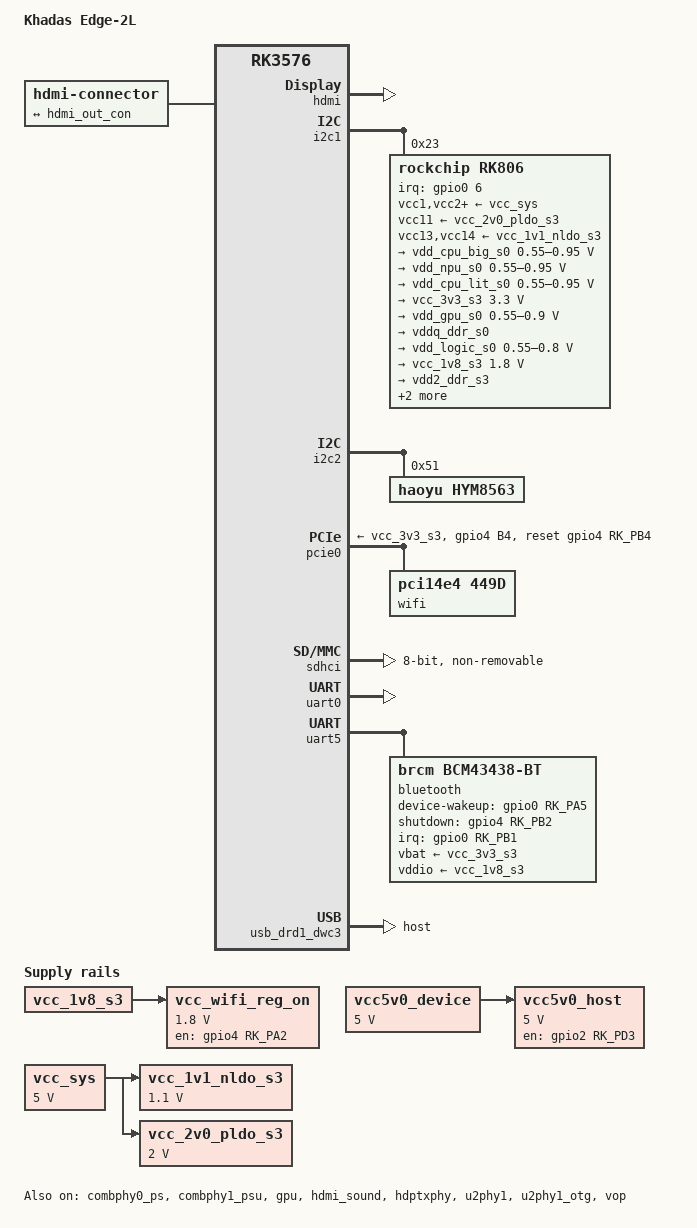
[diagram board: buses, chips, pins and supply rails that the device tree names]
// SPDX-License-Identifier: (GPL-2.0+ OR MIT)

/dts-v1/;

#include <dt-bindings/gpio/gpio.h>
#include <dt-bindings/pinctrl/rockchip.h>
#include <dt-bindings/soc/rockchip,vop2.h>
#include "rk3576.dtsi"

/ {
	model = "Khadas Edge-2L";
	compatible = "khadas,edge-2l", "rockchip,rk3576";

	aliases {
		mmc0 = &sdhci;
	};

	chosen {
		stdout-path = "serial0:1500000n8";
	};

	hdmi-con {
		compatible = "hdmi-connector";
		type = "a";

		port {
			hdmi_con_in: endpoint {
				remote-endpoint = <&hdmi_out_con>;
			};
		};
	};

	vcc5v0_device: regulator-vcc5v0-device {
		compatible = "regulator-fixed";
		regulator-name = "vcc5v0_device";
		regulator-always-on;
		regulator-boot-on;
		regulator-min-microvolt = <5000000>;
		regulator-max-microvolt = <5000000>;
	};

	vcc5v0_host: regulator-vcc5v0-host {
		compatible = "regulator-fixed";
		enable-active-high;
		gpio = <&gpio2 RK_PD3 GPIO_ACTIVE_HIGH>;
		regulator-name = "vcc5v0_host";
		regulator-boot-on;
		regulator-always-on;
		regulator-min-microvolt = <5000000>;
		regulator-max-microvolt = <5000000>;
		pinctrl-names = "default";
		pinctrl-0 = <&usb_host_pwren>;
		vin-supply = <&vcc5v0_device>;
	};

	vcc_sys: regulator-vcc5v0-sys {
		compatible = "regulator-fixed";
		regulator-name = "vcc_sys";
		regulator-always-on;
		regulator-boot-on;
		regulator-min-microvolt = <5000000>;
		regulator-max-microvolt = <5000000>;
	};

	vcc_1v1_nldo_s3: regulator-vcc-1v1-nldo-s3 {
		compatible = "regulator-fixed";
		regulator-name = "vcc_1v1_nldo_s3";
		regulator-boot-on;
		regulator-always-on;
		regulator-min-microvolt = <1100000>;
		regulator-max-microvolt = <1100000>;
		vin-supply = <&vcc_sys>;
	};

	vcc_2v0_pldo_s3: regulator-vcc-2v0-pldo-s3 {
		compatible = "regulator-fixed";
		regulator-name = "vcc_2v0_pldo_s3";
		regulator-boot-on;
		regulator-always-on;
		regulator-min-microvolt = <2000000>;
		regulator-max-microvolt = <2000000>;
		vin-supply = <&vcc_sys>;
	};

	vcc_wifi_reg_on: regulator-wifi-reg-on {
		compatible = "regulator-fixed";
		enable-active-high;
		gpios = <&gpio4 RK_PA2 GPIO_ACTIVE_HIGH>;
		pinctrl-0 = <&wifi_reg_on>;
		pinctrl-names = "default";
		regulator-name = "wifi_reg_on";
		regulator-always-on;
		regulator-boot-on;
		regulator-min-microvolt = <1800000>;
		regulator-max-microvolt = <1800000>;
		vin-supply = <&vcc_1v8_s3>;
	};
};

&combphy0_ps {
	status = "okay";
};

&combphy1_psu {
	status = "okay";
};

&cpu_l0 {
	cpu-supply = <&vdd_cpu_lit_s0>;
};

&cpu_b0 {
	cpu-supply = <&vdd_cpu_big_s0>;
};

&gpu {
	mali-supply = <&vdd_gpu_s0>;
	status = "okay";
};

&hdmi {
	status = "okay";
};

&hdmi_in {
	hdmi_in_vp0: endpoint {
		remote-endpoint = <&vp0_out_hdmi>;
	};
};

&hdmi_out {
	hdmi_out_con: endpoint {
		remote-endpoint = <&hdmi_con_in>;
	};
};

&hdmi_sound {
	status = "okay";
};

&hdptxphy {
	status = "okay";
};

&i2c1 {
	status = "okay";

	rk806: pmic@23 {
		compatible = "rockchip,rk806";
		reg = <0x23>;
		interrupt-parent = <&gpio0>;
		interrupts = <6 IRQ_TYPE_LEVEL_LOW>;
		gpio-controller;
		#gpio-cells = <2>;
		pinctrl-names = "default";
		pinctrl-0 = <&pmic_pins>, <&rk806_dvs1_null>,
			    <&rk806_dvs2_null>, <&rk806_dvs3_null>;
		system-power-controller;

		vcc1-supply = <&vcc_sys>;
		vcc2-supply = <&vcc_sys>;
		vcc3-supply = <&vcc_sys>;
		vcc4-supply = <&vcc_sys>;
		vcc5-supply = <&vcc_sys>;
		vcc6-supply = <&vcc_sys>;
		vcc7-supply = <&vcc_sys>;
		vcc8-supply = <&vcc_sys>;
		vcc9-supply = <&vcc_sys>;
		vcc10-supply = <&vcc_sys>;
		vcc11-supply = <&vcc_2v0_pldo_s3>;
		vcc12-supply = <&vcc_sys>;
		vcc13-supply = <&vcc_1v1_nldo_s3>;
		vcc14-supply = <&vcc_1v1_nldo_s3>;
		vcca-supply = <&vcc_sys>;

		rk806_dvs1_null: dvs1-null-pins {
			pins = "gpio_pwrctrl1";
			function = "pin_fun0";
		};

		rk806_dvs2_null: dvs2-null-pins {
			pins = "gpio_pwrctrl2";
			function = "pin_fun0";
		};

		rk806_dvs3_null: dvs3-null-pins {
			pins = "gpio_pwrctrl3";
			function = "pin_fun0";
		};

		rk806_dvs1_slp: dvs1-slp-pins {
			pins = "gpio_pwrctrl1";
			function = "pin_fun1";
		};

		rk806_dvs1_pwrdn: dvs1-pwrdn-pins {
			pins = "gpio_pwrctrl1";
			function = "pin_fun2";
		};

		rk806_dvs1_rst: dvs1-rst-pins {
			pins = "gpio_pwrctrl1";
			function = "pin_fun3";
		};

		rk806_dvs2_slp: dvs2-slp-pins {
			pins = "gpio_pwrctrl2";
			function = "pin_fun1";
		};

		rk806_dvs2_pwrdn: dvs2-pwrdn-pins {
			pins = "gpio_pwrctrl2";
			function = "pin_fun2";
		};

		rk806_dvs2_rst: dvs2-rst-pins {
			pins = "gpio_pwrctrl2";
			function = "pin_fun3";
		};

		rk806_dvs2_dvs: dvs2-dvs-pins {
			pins = "gpio_pwrctrl2";
			function = "pin_fun4";
		};

		rk806_dvs2_gpio: dvs2-gpio-pins {
			pins = "gpio_pwrctrl2";
			function = "pin_fun5";
		};

		rk806_dvs3_slp: dvs3-slp-pins {
			pins = "gpio_pwrctrl3";
			function = "pin_fun1";
		};

		rk806_dvs3_pwrdn: dvs3-pwrdn-pins {
			pins = "gpio_pwrctrl3";
			function = "pin_fun2";
		};

		rk806_dvs3_rst: dvs3-rst-pins {
			pins = "gpio_pwrctrl3";
			function = "pin_fun3";
		};

		rk806_dvs3_dvs: dvs3-dvs-pins {
			pins = "gpio_pwrctrl3";
			function = "pin_fun4";
		};

		rk806_dvs3_gpio: dvs3-gpio-pins {
			pins = "gpio_pwrctrl3";
			function = "pin_fun5";
		};

		regulators {
			vdd_cpu_big_s0: dcdc-reg1 {
				regulator-always-on;
				regulator-boot-on;
				regulator-min-microvolt = <550000>;
				regulator-max-microvolt = <950000>;
				regulator-ramp-delay = <12500>;
				regulator-name = "vdd_cpu_big_s0";
				regulator-enable-ramp-delay = <400>;

				regulator-state-mem {
					regulator-off-in-suspend;
				};
			};

			vdd_npu_s0: dcdc-reg2 {
				regulator-boot-on;
				regulator-min-microvolt = <550000>;
				regulator-max-microvolt = <950000>;
				regulator-ramp-delay = <12500>;
				regulator-name = "vdd_npu_s0";
				regulator-enable-ramp-delay = <400>;

				regulator-state-mem {
					regulator-off-in-suspend;
				};
			};

			vdd_cpu_lit_s0: dcdc-reg3 {
				regulator-always-on;
				regulator-boot-on;
				regulator-min-microvolt = <550000>;
				regulator-max-microvolt = <950000>;
				regulator-ramp-delay = <12500>;
				regulator-name = "vdd_cpu_lit_s0";

				regulator-state-mem {
					regulator-off-in-suspend;
					regulator-suspend-microvolt = <750000>;
				};
			};

			vcc_3v3_s3: dcdc-reg4 {
				regulator-always-on;
				regulator-boot-on;
				regulator-min-microvolt = <3300000>;
				regulator-max-microvolt = <3300000>;
				regulator-name = "vcc_3v3_s3";

				regulator-state-mem {
					regulator-on-in-suspend;
					regulator-suspend-microvolt = <3300000>;
				};
			};

			vdd_gpu_s0: dcdc-reg5 {
				regulator-boot-on;
				regulator-min-microvolt = <550000>;
				regulator-max-microvolt = <900000>;
				regulator-ramp-delay = <12500>;
				regulator-name = "vdd_gpu_s0";
				regulator-enable-ramp-delay = <400>;

				regulator-state-mem {
					regulator-off-in-suspend;
					regulator-suspend-microvolt = <850000>;
				};
			};

			vddq_ddr_s0: dcdc-reg6 {
				regulator-always-on;
				regulator-boot-on;
				regulator-name = "vddq_ddr_s0";

				regulator-state-mem {
					regulator-off-in-suspend;
				};
			};

			vdd_logic_s0: dcdc-reg7 {
				regulator-always-on;
				regulator-boot-on;
				regulator-min-microvolt = <550000>;
				regulator-max-microvolt = <800000>;
				regulator-name = "vdd_logic_s0";

				regulator-state-mem {
					regulator-off-in-suspend;
				};
			};

			vcc_1v8_s3: dcdc-reg8 {
				regulator-always-on;
				regulator-boot-on;
				regulator-min-microvolt = <1800000>;
				regulator-max-microvolt = <1800000>;
				regulator-name = "vcc_1v8_s3";

				regulator-state-mem {
					regulator-on-in-suspend;
					regulator-suspend-microvolt = <1800000>;
				};
			};

			vdd2_ddr_s3: dcdc-reg9 {
				regulator-always-on;
				regulator-boot-on;
				regulator-name = "vdd2_ddr_s3";

				regulator-state-mem {
					regulator-on-in-suspend;
				};
			};

			vdd_ddr_s0: dcdc-reg10 {
				regulator-always-on;
				regulator-boot-on;
				regulator-min-microvolt = <550000>;
				regulator-max-microvolt = <1200000>;
				regulator-name = "vdd_ddr_s0";

				regulator-state-mem {
					regulator-off-in-suspend;
				};
			};

			vcca_1v8_s0: pldo-reg1 {
				regulator-always-on;
				regulator-boot-on;
				regulator-min-microvolt = <1800000>;
				regulator-max-microvolt = <1800000>;
				regulator-name = "vcca_1v8_s0";

				regulator-state-mem {
					regulator-off-in-suspend;
				};
			};

			vcca1v8_pldo2_s0: pldo-reg2 {
				regulator-always-on;
				regulator-boot-on;
				regulator-min-microvolt = <1800000>;
				regulator-max-microvolt = <1800000>;
				regulator-name = "vcca1v8_pldo2_s0";

				regulator-state-mem {
					regulator-off-in-suspend;
				};
			};

			vdda_1v2_s0: pldo-reg3 {
				regulator-always-on;
				regulator-boot-on;
				regulator-min-microvolt = <1200000>;
				regulator-max-microvolt = <1200000>;
				regulator-name = "vdda_1v2_s0";

				regulator-state-mem {
					regulator-off-in-suspend;
				};
			};

			vcca_3v3_s0: pldo-reg4 {
				regulator-always-on;
				regulator-boot-on;
				regulator-min-microvolt = <3300000>;
				regulator-max-microvolt = <3300000>;
				regulator-name = "vcca_3v3_s0";

				regulator-state-mem {
					regulator-off-in-suspend;
				};
			};

			vccio_sd_s0: pldo-reg5 {
				regulator-always-on;
				regulator-boot-on;
				regulator-min-microvolt = <1800000>;
				regulator-max-microvolt = <3300000>;
				regulator-name = "vccio_sd_s0";

				regulator-state-mem {
					regulator-off-in-suspend;
				};
			};

			vcca1v8_pldo6_s3: pldo-reg6 {
				regulator-always-on;
				regulator-boot-on;
				regulator-min-microvolt = <1800000>;
				regulator-max-microvolt = <1800000>;
				regulator-name = "vcca1v8_pldo6_s3";

				regulator-state-mem {
					regulator-on-in-suspend;
					regulator-suspend-microvolt = <1800000>;
				};
			};

			vdd_0v75_s3: nldo-reg1 {
				regulator-always-on;
				regulator-boot-on;
				regulator-min-microvolt = <550000>;
				regulator-max-microvolt = <750000>;
				regulator-name = "vdd_0v75_s3";

				regulator-state-mem {
					regulator-on-in-suspend;
					regulator-suspend-microvolt = <750000>;
				};
			};

			vdda_ddr_pll_s0: nldo-reg2 {
				regulator-always-on;
				regulator-boot-on;
				regulator-min-microvolt = <850000>;
				regulator-max-microvolt = <850000>;
				regulator-name = "vdda_ddr_pll_s0";

				regulator-state-mem {
					regulator-off-in-suspend;
				};
			};

			vdda0v75_hdmi_s0: nldo-reg3 {
				regulator-boot-on;
				regulator-min-microvolt = <837500>;
				regulator-max-microvolt = <837500>;
				regulator-name = "vdda0v75_hdmi_s0";

				regulator-state-mem {
					regulator-off-in-suspend;
				};
			};

			vdda_0v85_s0: nldo-reg4 {
				regulator-always-on;
				regulator-boot-on;
				regulator-min-microvolt = <850000>;
				regulator-max-microvolt = <850000>;
				regulator-name = "vdda_0v85_s0";

				regulator-state-mem {
					regulator-off-in-suspend;
				};
			};

			vdda_0v75_s0: nldo-reg5 {
				regulator-always-on;
				regulator-boot-on;
				regulator-min-microvolt = <750000>;
				regulator-max-microvolt = <750000>;
				regulator-name = "vdda_0v75_s0";

				regulator-state-mem {
					regulator-off-in-suspend;
				};
			};
		};
	};
};

&i2c2 {
	status = "okay";

	hym8563: rtc@51 {
		compatible = "haoyu,hym8563";
		reg = <0x51>;
		#clock-cells = <0>;
		clock-output-names = "hym8563";
		wakeup-source;
	};
};

&pcie0 {
	pinctrl-names = "default";
	pinctrl-0 = <&pcie0_rst>;
	reset-gpios = <&gpio4 RK_PB4 GPIO_ACTIVE_HIGH>;
	vpcie3v3-supply = <&vcc_3v3_s3>;
	status = "okay";

	pcie@0,0 {
		reg = <0x0 0 0 0 0>;
		bus-range = <0x0 0xf>;
		device_type = "pci";
		ranges;
		#address-cells = <3>;
		#size-cells = <2>;

		wifi: wifi@0,0 {
			compatible = "pci14e4,449d";
			reg = <0x10000 0 0 0 0>;
			clocks = <&hym8563>;
			clock-names = "lpo";
		};
	};
};

&pinctrl {
	bluetooth {
		bt_reg_on: bt-reg-on {
			rockchip,pins = <4 RK_PB2 RK_FUNC_GPIO &pcfg_pull_up>;
		};

		bt_wake_host: bt-wake-host {
			rockchip,pins = <0 RK_PB1 RK_FUNC_GPIO &pcfg_pull_down>;
		};

		host_wake_bt: host-wake-bt {
			rockchip,pins = <0 RK_PA5 RK_FUNC_GPIO &pcfg_pull_up>;
		};
	};

	pcie0 {
		pcie0_rst: pcie0-rst {
			rockchip,pins = <4 RK_PB4 RK_FUNC_GPIO &pcfg_pull_none>;
		};
	};

	usb {
		usb_host_pwren: usb-host-pwren {
			rockchip,pins = <2 RK_PD3 RK_FUNC_GPIO &pcfg_pull_none>;
		};
	};

	wifi {
		wifi_reg_on: wifi-reg-on {
			rockchip,pins = <4 RK_PA2 RK_FUNC_GPIO &pcfg_pull_up>;
		};

		wifi_wake_host: wifi-wake-host {
			rockchip,pins = <0 RK_PB0 RK_FUNC_GPIO &pcfg_pull_down>;
		};
	};
};

&sdhci {
	bus-width = <8>;
	no-sdio;
	no-sd;
	non-removable;
	mmc-hs400-1_8v;
	mmc-hs400-enhanced-strobe;
	status = "okay";
};

&u2phy1 {
	status = "okay";
};

&u2phy1_otg {
	phy-supply = <&vcc5v0_host>;
	status = "okay";
};

&uart0 {
	status = "okay";
};

&uart5 {
	pinctrl-0 = <&uart5m1_xfer &uart5m1_ctsn &uart5m1_rtsn>;
	pinctrl-names = "default";
	uart-has-rtscts;
	status = "okay";

	bluetooth {
		compatible = "brcm,bcm43438-bt";
		clocks = <&hym8563>;
		clock-names = "lpo";
		device-wakeup-gpios = <&gpio0 RK_PA5 GPIO_ACTIVE_HIGH>;
		interrupt-parent = <&gpio0>;
		interrupts = <RK_PB1 IRQ_TYPE_LEVEL_HIGH>;
		pinctrl-0 = <&bt_reg_on &bt_wake_host &host_wake_bt>;
		pinctrl-names = "default";
		shutdown-gpios = <&gpio4 RK_PB2 GPIO_ACTIVE_HIGH>;
		vbat-supply = <&vcc_3v3_s3>;
		vddio-supply = <&vcc_1v8_s3>;
	};
};

&usb_drd1_dwc3 {
	dr_mode = "host";
	status = "okay";
};

&vop {
	status = "okay";
};

&vop_mmu {
	status = "okay";
};

&vp0 {
	vp0_out_hdmi: endpoint@ROCKCHIP_VOP2_EP_HDMI0 {
		reg = <ROCKCHIP_VOP2_EP_HDMI0>;
		remote-endpoint = <&hdmi_in_vp0>;
	};
};
